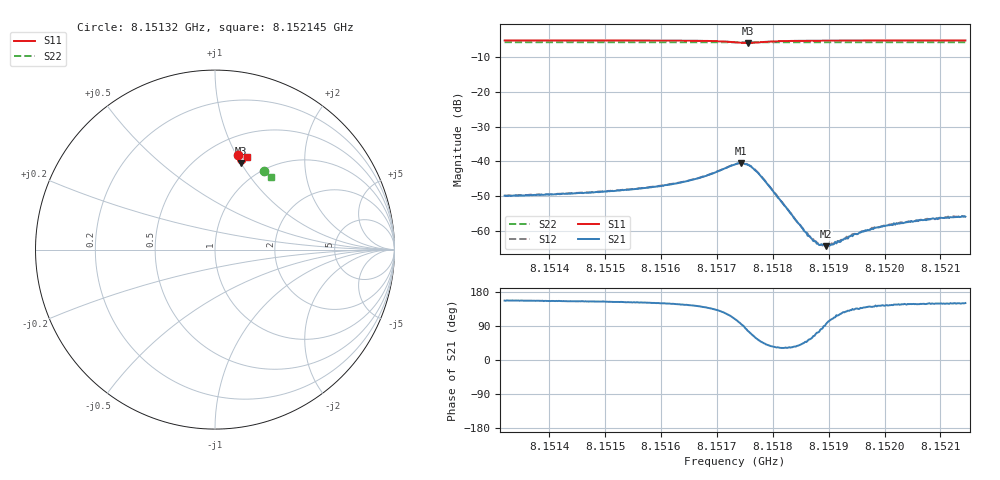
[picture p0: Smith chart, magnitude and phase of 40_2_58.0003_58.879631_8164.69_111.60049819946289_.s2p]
#  HZ  S  RI  R  50.00
! Rohde & Schwarz Vector Network Analyzer
! Rohde-Schwarz,ZNB20-2Port,1311601062101988,3.16
! Created: UTC 3/21/2024, 12:52:03 AM
! freq[Hz]  re:S11  im:S11  re:S21  im:S21  re:S12  im:S12  re:S22  im:S22
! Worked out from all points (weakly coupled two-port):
!   401 points, 8.15132 GHz to 8.152145 GHz, reference 50 ohm
!   highest |S21| = -40.45 dB at 8.151743 GHz (marker M1); lowest = -64.4 dB at 8.151895 GHz (marker M2)
!   lowest |S11| = -6.0 dB at 8.151755 GHz (marker M3), VSWR 3.01, Z = 38.8 + j49.7 ohm
!   |S11| at or under -10 dB: nowhere
!   |S22| runs from -5.8 to -5.8 dB; largest |S21 - S12| = 0.00034
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8.1513204e9  0.1286 0.5282  -0.00295 0.00127  -0.00297 0.00131  0.2714 0.4365
8.1514584e9  0.1396 0.5254  -0.0032 0.00148  -0.00317 0.00159  0.2789 0.4314
8.1515161e9  0.1448 0.5239  -0.00334 0.00169  -0.00339 0.00173  0.2821 0.4294
8.1515965e9  0.1529 0.5205  -0.00381 0.0022  -0.00381 0.0023  0.2864 0.4264
8.1516336e9  0.1576 0.5179  -0.00414 0.0027  -0.00411 0.00277  0.2884 0.4247
8.1516666e9  0.1625 0.5137  -0.00452 0.00349  -0.00447 0.00361  0.2902 0.4235
8.1517325e9  0.1639 0.4862  -0.00281 0.00859  -0.00274 0.00867  0.2932 0.4202
8.1517428e9  0.1559 0.4802  -0.000934 0.00945  -0.000785 0.00941  0.2933 0.4196
8.1517552e9  0.1424 0.48  0.00197 0.00868  0.00202 0.00879  0.2935 0.4196
8.1517655e9  0.1334 0.4865  0.00348 0.00707  0.00365 0.00709  0.2937 0.4193
8.1517778e9  0.1293 0.4971  0.00408 0.00474  0.00416 0.00477  0.2943 0.4194
8.1518582e9  0.1471 0.5188  0.00065 0.000726  0.000696 0.000727  0.2993 0.4171
8.1518705e9  0.1494 0.5192  0.000393 0.000652  0.000394 0.000658  0.2998 0.4165
8.1518829e9  0.1512 0.5194  0.000172 0.000605  0.000169 0.000593  0.3007 0.4159
8.1518953e9  0.1531 0.5194  -5.28e-05 0.000603  -1.86e-05 0.00062  0.3013 0.4155
8.1519056e9  0.1544 0.5193  -0.000197 0.000606  -0.000184 0.000638  0.3018 0.4151
8.1519159e9  0.1559 0.5194  -0.000317 0.000621  -0.000322 0.000644  0.3025 0.4148
8.1519447e9  0.1591 0.5191  -0.000605 0.000655  -0.000606 0.000671  0.3041 0.4135
8.1519859e9  0.1632 0.5183  -0.000879 0.000699  -0.000861 0.000723  0.306 0.4119
8.1520086e9  0.1654 0.5179  -0.000985 0.000701  -0.00101 0.000722  0.3073 0.411
8.1520725e9  0.1708 0.5166  -0.00122 0.000772  -0.00122 0.000816  0.3105 0.4083
8.1521446e9  0.1766 0.5152  -0.0014 0.000795  -0.0014 0.000841  0.3143 0.4056
